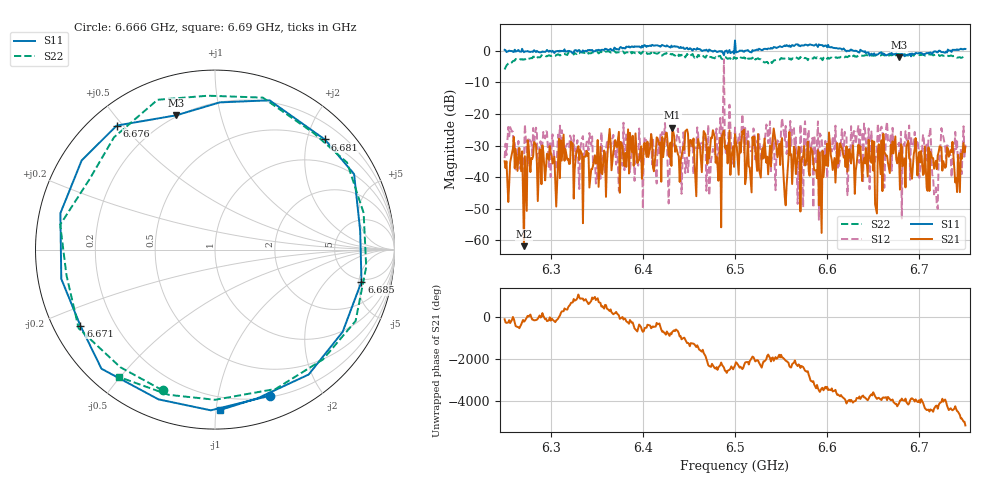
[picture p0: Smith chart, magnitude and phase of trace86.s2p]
# Hz S RI R 50
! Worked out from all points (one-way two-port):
!   401 points, 6.25 GHz to 6.75 GHz, reference 50 ohm
!   highest |S21| = -24.38 dB at 6.432 GHz (marker M1); lowest = -61.8 dB at 6.271 GHz (marker M2)
!   lowest |S11| = -2.2 dB at 6.678 GHz (marker M3), VSWR 8.04, Z = 9.65 + j36.7 ohm
!   |S11| at or under -10 dB: nowhere
!   |S22| runs from -6.0 to 0.1 dB; largest |S21 - S12| = 0.75
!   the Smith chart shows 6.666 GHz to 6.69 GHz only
!   S11 on the Smith chart (normalised r, x): 6.666 GHz: 0.21, -1.42; 6.671 GHz: 0.08, -0.26; 6.676 GHz: 0.08, +0.48; 6.681 GHz: 0.47, +2.33; 6.685 GHz: 4.59, -5.44; 6.69 GHz: 0.11, -1.02
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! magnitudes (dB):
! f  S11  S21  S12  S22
! 6.25 GHz  0.3  -35.0  -34.0  -6.0
! 6.271 GHz  -0.5  -61.8  -34.5  -2.8
! 6.281 GHz  -0.4  -33.3  -24.4  -1.9
! 6.334 GHz  -0.4  -32.7  -27.7  -0.6
! 6.418 GHz  1.4  -29.8  -32.9  -0.6
! 6.432 GHz  1.2  -24.4  -29.3  -1.0
! 6.482 GHz  -0.3  -41.1  -33.4  -1.8
! 6.5 GHz  3.2  -26.4  -24.3  -2.3
! 6.584 GHz  1.8  -31.8  -27.6  -2.4
! 6.666 GHz  -1.2  -35.6  -28.4  -1.5
! 6.668 GHz  -1.0  -38.7  -29.1  -1.5
! 6.671 GHz  -1.3  -28.7  -24.4  -1.2
! 6.676 GHz  -1.1  -35.6  -30.1  -1.3
! 6.678 GHz  -2.2  -32.4  -29.1  -1.0
! 6.681 GHz  -1.2  -30.2  -53.1  -1.4
! 6.685 GHz  -1.6  -43.2  -25.5  -1.3
! 6.69 GHz  -1.0  -34.4  -40.9  -1.0
! 6.71 GHz  -0.9  -30.6  -27.0  -1.3
! 6.718 GHz  -0.3  -34.8  -43.3  -1.2
! 6.725 GHz  -0.5  -37.9  -26.4  -1.5
! 6.741 GHz  0.4  -44.7  -28.3  -2.2
! 6.75 GHz  0.5  -30.5  -29.7  -2.3
